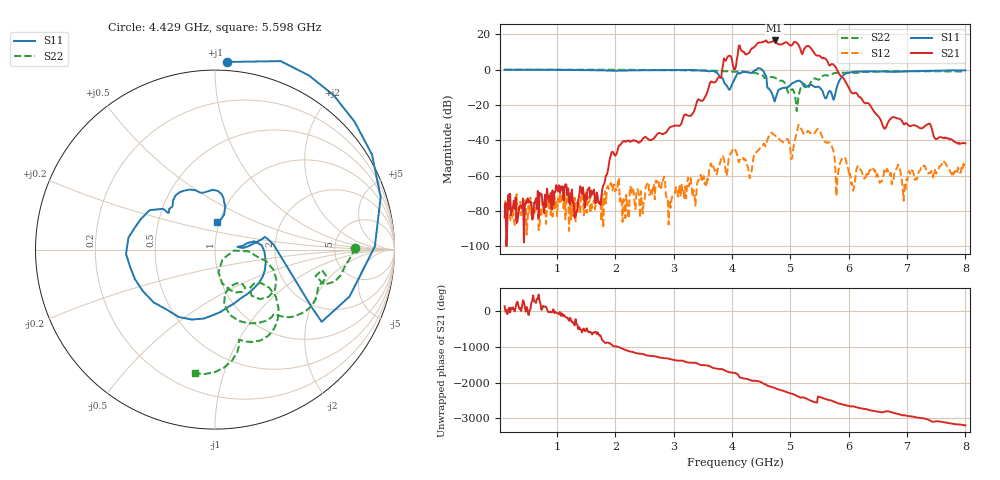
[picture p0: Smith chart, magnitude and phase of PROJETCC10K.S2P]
!Agilent Technologies,E5071C,MY46214845,A.10.06
!Date: Fri Jan 10 10:25:58 2025
!Data & Calibration Information:
!Freq	S11:SOLT2(ON)	S21:SOLT2(ON)	S12:SOLT2(ON)	S22:SOLT2(ON)
!PortZ  Port1:50+j0  Port2:50+j0
!Above PortZ is port z conversion or system Z0 setting when saving the data.
!When reading, reference impedance value at option line is always used.
# Hz S dB R 50
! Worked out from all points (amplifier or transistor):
!   501 points, 100 MHz to 8 GHz, reference 50 ohm
!   highest |S21| = 16.6 dB at 4.729 GHz (marker M1)
!   |S21| within 3 dB of that: 4.403 GHz to 5.147 GHz (744.1 MHz wide, 15.6 % of centre)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
!   unconditionally stable (mu >= 1): 1.967 GHz to 2.175 GHz; 2.202 GHz to 4.414 GHz; 4.522 GHz to end of sweep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
!   at 1.411 GHz: K = -1358.90, MSG = 1.0 dB, |S12| = -70.7 dB
!   at 4.05 GHz: K = 14.04, MAG = 8.1 dB, |S12| = -44.9 dB
!   at 8 GHz: K = 486.66, MAG = -24.1 dB, |S12| = -53.3 dB
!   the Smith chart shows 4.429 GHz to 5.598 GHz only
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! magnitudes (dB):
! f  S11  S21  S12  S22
! 100 MHz  0.0  -83.7  -78.1  0.0
! 1.159 GHz  -0.1  -65.1  -72.3  0.0
! 1.317 GHz  -0.2  -82.5  -85.9  0.0
! 1.427 GHz  -0.2  -70.4  -66.8  0.0
! 1.727 GHz  -0.3  -75.0  -75.8  0.0
! 1.933 GHz  -0.5  -46.9  -64.6  0.0
! 2.201 GHz  -0.4  -40.4  -75.5  0.0
! 2.739 GHz  -0.3  -36.0  -62.8  -0.1
! 2.912 GHz  -0.2  -33.4  -87.7  -0.2
! 3.355 GHz  -0.2  -22.9  -70.8  -0.3
! 3.892 GHz  -8.6  5.1  -58.2  -0.8
! 4.05 GHz  -4.9  0.3  -44.9  -1.2
! 4.303 GHz  -1.7  10.1  -61.5  -1.5
! 4.729 GHz  -18.0  16.6  -37.1  -4.5
! 5.03 GHz  -7.7  14.1  -50.1  -11.1
! 5.109 GHz  -6.5  15.3  -35.6  -23.4
! 5.377 GHz  -8.8  11.0  -36.3  -5.7
! 5.741 GHz  -17.0  2.8  -46.4  -2.0
! 6.072 GHz  -1.2  -13.4  -68.5  -1.6
! 6.689 GHz  -1.2  -28.9  -58.5  -0.9
! 6.957 GHz  -1.0  -30.9  -65.2  -0.8
! 8 GHz  -0.4  -41.7  -53.3  -0.9
